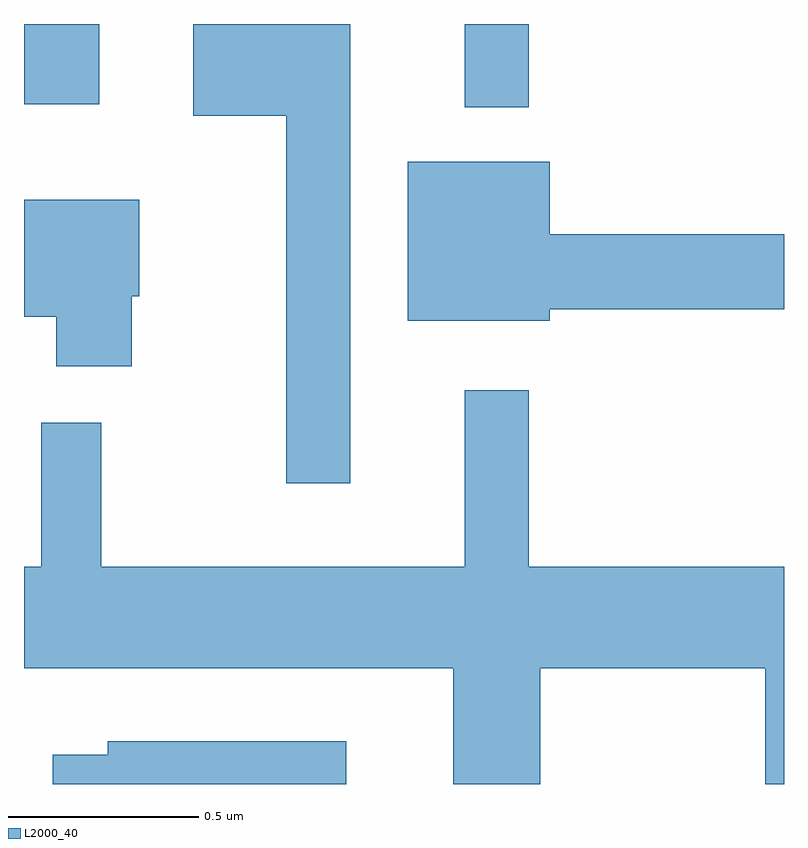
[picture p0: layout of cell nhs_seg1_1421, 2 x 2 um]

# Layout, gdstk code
import gdstk
lib = gdstk.Library(unit=1e-6, precision=1e-09)
def R(c, l, rs):  # rectangles x0, y0, x1, y1
    for r in rs: c.add(gdstk.rectangle(r[:2], r[2:], *l))
def P(c, l, *ps):  # polygons
    for p in ps: c.add(gdstk.Polygon(p, *l))
L2000_40 = (2000, 40)

nhs_seg1_1421 = lib.new_cell('nhs_seg1_1421')
R(nhs_seg1_1421, L2000_40, [(196.771,905.493,196.939,905.712), (195.611,905.501,195.809,905.712)])
P(nhs_seg1_1421, L2000_40, [(196.469,905.712),(196.056,905.712),(196.056,905.471),(196.301,905.471),(196.301,904.503),(196.469,904.503)],
  [(196.994,904.961),(197.611,904.961),(197.611,905.159),(196.994,905.159),(196.994,905.349),(196.621,905.349),(196.621,904.931),(196.994,904.931)],
  [(195.894,904.996),(195.914,904.996),(195.914,905.249),(195.611,905.249),(195.611,904.941),(195.696,904.941),(195.696,904.811),(195.894,904.811)],
  [(196.969,904.016),(197.561,904.016),(197.561,903.712),(197.611,903.712),(197.611,904.284),(196.939,904.284),(196.939,904.748),(196.771,904.748),(196.771,904.284),(195.814,904.284),(195.814,904.663),(195.656,904.663),(195.656,904.284),(195.611,904.284),(195.611,904.016),(196.741,904.016),(196.741,903.712),(196.969,903.712)],
  [(196.459,903.824),(195.831,903.824),(195.831,903.789),(195.686,903.789),(195.686,903.712),(196.459,903.712)])

lib.write_gds('nhs_seg1_1421.gds')
